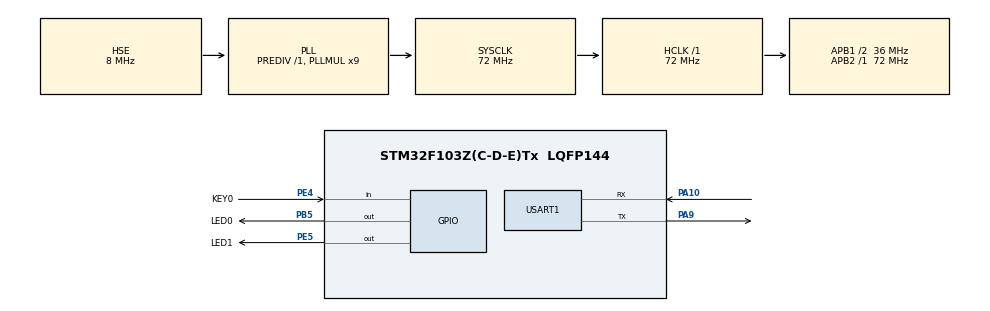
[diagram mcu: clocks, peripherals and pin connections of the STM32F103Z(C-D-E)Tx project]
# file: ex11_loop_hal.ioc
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Mcu.Family=STM32F1
Mcu.Name=STM32F103Z(C-D-E)Tx
Mcu.Package=LQFP144
NVIC.PriorityGroup=NVIC_PRIORITYGROUP_4
OSC_IN.Mode=HSE-External-Oscillator
OSC_IN.Signal=RCC_OSC_IN
OSC_OUT.Mode=HSE-External-Oscillator
OSC_OUT.Signal=RCC_OSC_OUT
PA10.Mode=Asynchronous
PA10.Signal=USART1_RX
PA13.Mode=Serial_Wire
PA13.Signal=SYS_JTMS-SWDIO
PA14.Mode=Serial_Wire
PA14.Signal=SYS_JTCK-SWCLK
PA9.Mode=Asynchronous
PA9.Signal=USART1_TX
PB5.GPIO_Label=LED0
PB5.GPIO_Speed=GPIO_SPEED_FREQ_HIGH
PB5.PinState=GPIO_PIN_SET
PB5.Signal=GPIO_Output
PC14-OSC32_IN.Mode=LSE-External-Oscillator
PC14-OSC32_IN.Signal=RCC_OSC32_IN
PC15-OSC32_OUT.Mode=LSE-External-Oscillator
PC15-OSC32_OUT.Signal=RCC_OSC32_OUT
PE4.GPIO_Label=KEY0
PE4.GPIO_Mode=GPIO_MODE_INPUT
PE4.GPIO_PuPd=GPIO_PULLUP
PE4.Signal=GPIO_Input
PE5.GPIO_Label=LED1
PE5.GPIO_Speed=GPIO_SPEED_FREQ_HIGH
PE5.PinState=GPIO_PIN_SET
PE5.Signal=GPIO_Output
ProjectManager.HeapSize=0x200
ProjectManager.StackSize=0x400
ProjectManager.TargetToolchain=MDK-ARM V5.32
RCC.AHBFreq_Value=72000000
RCC.APB1CLKDivider=RCC_HCLK_DIV2
RCC.APB1Freq_Value=36000000
RCC.APB1TimFreq_Value=72000000
RCC.APB2Freq_Value=72000000
RCC.APB2TimFreq_Value=72000000
RCC.HCLKFreq_Value=72000000
RCC.PLLMUL=RCC_PLL_MUL9
RCC.PLLSourceVirtual=RCC_PLLSOURCE_HSE
RCC.SYSCLKFreq_VALUE=72000000
RCC.SYSCLKSource=RCC_SYSCLKSOURCE_PLLCLK
RCC.USBFreq_Value=72000000
USART1.VirtualMode=VM_ASYNC
board=custom

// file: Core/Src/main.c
/* USER CODE BEGIN Header */
/**
  ******************************************************************************
  * @file           : main.c
  * @brief          : Main program body
  ******************************************************************************
  * @attention
  *
  * Copyright (c) 2026 STMicroelectronics.
  * All rights reserved.
  *
  * This software is licensed under terms that can be found in the LICENSE file
  * in the root directory of this software component.
  * If no LICENSE file comes with this software, it is provided AS-IS.
  *
  ******************************************************************************
  */
/* USER CODE END Header */
#include "main.h"
#include "usart.h"
#include "gpio.h"

void SystemClock_Config(void);

/* USER CODE BEGIN 0 */
uint32_t LED0_time=0;
uint32_t LED1_time=0;
uint32_t print_time=0;

uint8_t key_stable=1;//状态
uint8_t key_last;//上次低电平还是高电平
uint32_t key_time;//时间戳，判断是否时间到了消抖

void Key_Task(void);

/* USER CODE END 0 */

int main(void)
{

  /* MCU Configuration--------------------------------------------------------*/

  /* Reset of all peripherals, Initializes the Flash interface and the Systick. */
  HAL_Init();

  /* Configure the system clock */
  SystemClock_Config();

  /* Initialize all configured peripherals */
  MX_GPIO_Init();
  MX_USART1_UART_Init();

  /* Infinite loop */
  while (1)
  {
    uint32_t now=HAL_GetTick();
    if(now-LED1_time>=200)
    {
      HAL_GPIO_TogglePin(LED1_GPIO_Port,LED1_Pin);
      LED1_time=now;
    }
    if(now-print_time>=1000)
    {
      printf("%lu\n",now);
      print_time=now;
    }
    Key_Task();
  }
}

void SystemClock_Config(void)
{
  RCC_OscInitTypeDef RCC_OscInitStruct = {0};
  RCC_ClkInitTypeDef RCC_ClkInitStruct = {0};

  /** Initializes the RCC Oscillators according to the specified parameters
  * in the RCC_OscInitTypeDef structure.
  */
  RCC_OscInitStruct.OscillatorType = RCC_OSCILLATORTYPE_HSE;
  RCC_OscInitStruct.HSEState = RCC_HSE_ON;
  RCC_OscInitStruct.HSEPredivValue = RCC_HSE_PREDIV_DIV1;
  RCC_OscInitStruct.HSIState = RCC_HSI_ON;
  RCC_OscInitStruct.PLL.PLLState = RCC_PLL_ON;
  RCC_OscInitStruct.PLL.PLLSource = RCC_PLLSOURCE_HSE;
  RCC_OscInitStruct.PLL.PLLMUL = RCC_PLL_MUL9;
  if (HAL_RCC_OscConfig(&RCC_OscInitStruct) != HAL_OK)
  {
    Error_Handler();
  }

  /** Initializes the CPU, AHB and APB buses clocks
  */
  RCC_ClkInitStruct.ClockType = RCC_CLOCKTYPE_HCLK|RCC_CLOCKTYPE_SYSCLK
                              |RCC_CLOCKTYPE_PCLK1|RCC_CLOCKTYPE_PCLK2;
  RCC_ClkInitStruct.SYSCLKSource = RCC_SYSCLKSOURCE_PLLCLK;
  RCC_ClkInitStruct.AHBCLKDivider = RCC_SYSCLK_DIV1;
  RCC_ClkInitStruct.APB1CLKDivider = RCC_HCLK_DIV2;
  RCC_ClkInitStruct.APB2CLKDivider = RCC_HCLK_DIV1;

  if (HAL_RCC_ClockConfig(&RCC_ClkInitStruct, FLASH_LATENCY_2) != HAL_OK)
  {
    Error_Handler();
  }
}

/* USER CODE BEGIN 4 */

void Key_Task(void)
{
  uint8_t key_now=HAL_GPIO_ReadPin(GPIOE,GPIO_PIN_4);//读当前电平
  if(key_now!=key_last)
  {
    key_last=key_now;
    key_time=HAL_GetTick();
  }
  if(HAL_GetTick()-key_time>=20)
  {
    if(key_now!=key_stable)
    {
      key_stable=key_now;
      if(key_stable==0)
      {
        HAL_GPIO_TogglePin(LED0_GPIO_Port,LED0_Pin);
        printf("key0 press!\n");
      }
    }
  }
}
/* USER CODE END 4 */

void Error_Handler(void)
{
  __disable_irq();
  while (1)
  {
  }
}
